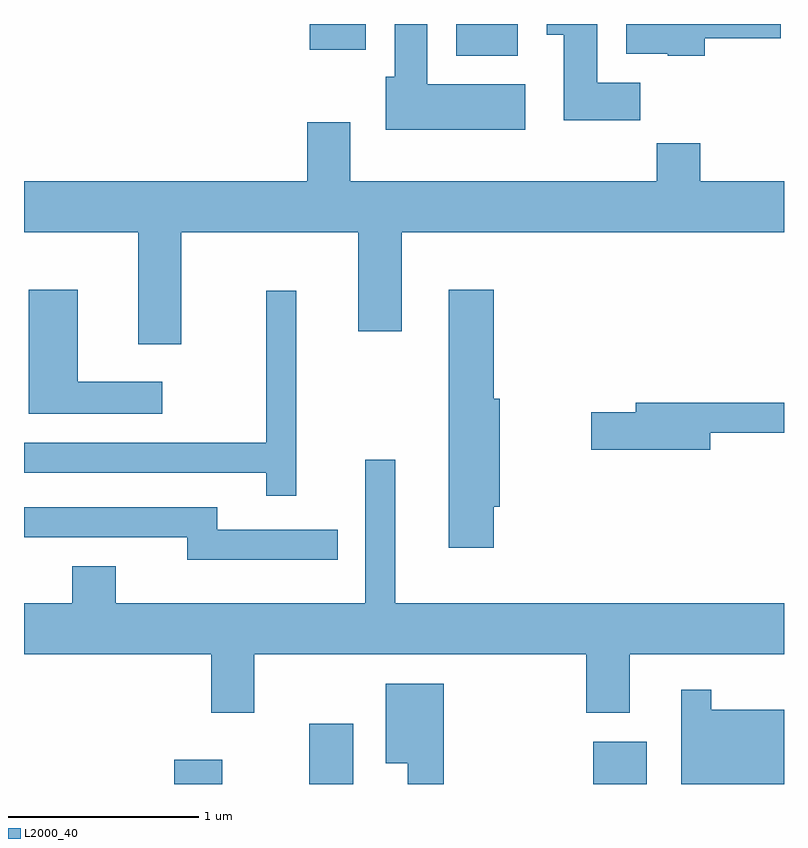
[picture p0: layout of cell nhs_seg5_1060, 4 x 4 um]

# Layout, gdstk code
import gdstk
lib = gdstk.Library(unit=1e-6, precision=1e-09)
def R(c, l, rs):  # rectangles x0, y0, x1, y1
    for r in rs: c.add(gdstk.rectangle(r[:2], r[2:], *l))
def P(c, l, *ps):  # polygons
    for p in ps: c.add(gdstk.Polygon(p, *l))
L2000_40 = (2000, 40)

nhs_seg5_1060 = lib.new_cell('nhs_seg5_1060')
R(nhs_seg5_1060, L2000_40, [(216.401,1496.072,216.654,1496.199), (217.111,1496.072,217.344,1496.389), (218.606,1496.072,218.889,1496.294), (217.886,1499.906,218.209,1500.072), (217.116,1499.936,217.409,1500.072)])
P(nhs_seg5_1060, L2000_40, [(218.249,1499.754),(217.734,1499.754),(217.734,1500.072),(217.561,1500.072),(217.561,1499.794),(217.516,1499.794),(217.516,1499.516),(218.249,1499.516)],
  [(218.854,1499.764),(218.629,1499.764),(218.629,1500.072),(218.361,1500.072),(218.361,1500.016),(218.451,1500.016),(218.451,1499.566),(218.854,1499.566)],
  [(219.194,1499.996),(219.594,1499.996),(219.594,1500.072),(218.781,1500.072),(218.781,1499.916),(219,1499.916),(219,1499.906),(219.194,1499.906)],
  [(216.439,1498.976),(217.371,1498.976),(217.371,1498.456),(217.599,1498.456),(217.599,1498.976),(219.611,1498.976),(219.611,1499.244),(219.169,1499.244),(219.169,1499.444),(218.941,1499.444),(218.941,1499.244),(217.329,1499.244),(217.329,1499.554),(217.101,1499.554),(217.101,1499.244),(215.611,1499.244),(215.611,1498.976),(216.211,1498.976),(216.211,1498.386),(216.439,1498.386)],
  [(218.084,1497.531),(218.114,1497.531),(218.114,1498.099),(218.084,1498.099),(218.084,1498.674),(217.846,1498.674),(217.846,1497.316),(218.084,1497.316)],
  [(216.338,1498.189),(215.894,1498.189),(215.894,1498.674),(215.636,1498.674),(215.636,1498.021),(216.338,1498.021)],
  [(217.044,1498.668),(216.886,1498.668),(216.886,1497.869),(215.613,1497.869),(215.613,1497.711),(216.886,1497.711),(216.886,1497.588),(217.044,1497.588)],
  [(219.224,1497.921),(219.611,1497.921),(219.611,1498.079),(218.831,1498.079),(218.831,1498.029),(218.596,1498.029),(218.596,1497.831),(219.224,1497.831)],
  [(216.824,1496.756),(218.571,1496.756),(218.571,1496.446),(218.799,1496.446),(218.799,1496.756),(219.611,1496.756),(219.611,1497.024),(217.564,1497.024),(217.564,1497.778),(217.406,1497.778),(217.406,1497.024),(216.094,1497.024),(216.094,1497.219),(215.866,1497.219),(215.866,1497.024),(215.611,1497.024),(215.611,1496.756),(216.596,1496.756),(216.596,1496.446),(216.824,1496.446)],
  [(217.263,1497.409),(216.629,1497.409),(216.629,1497.529),(215.611,1497.529),(215.611,1497.371),(216.471,1497.371),(216.471,1497.251),(217.263,1497.251)],
  [(217.819,1496.599),(217.516,1496.599),(217.516,1496.181),(217.631,1496.181),(217.631,1496.072),(217.819,1496.072)],
  [(219.611,1496.464),(219.229,1496.464),(219.229,1496.568),(219.071,1496.568),(219.071,1496.072),(219.611,1496.072)])

lib.write_gds('nhs_seg5_1060.gds')
